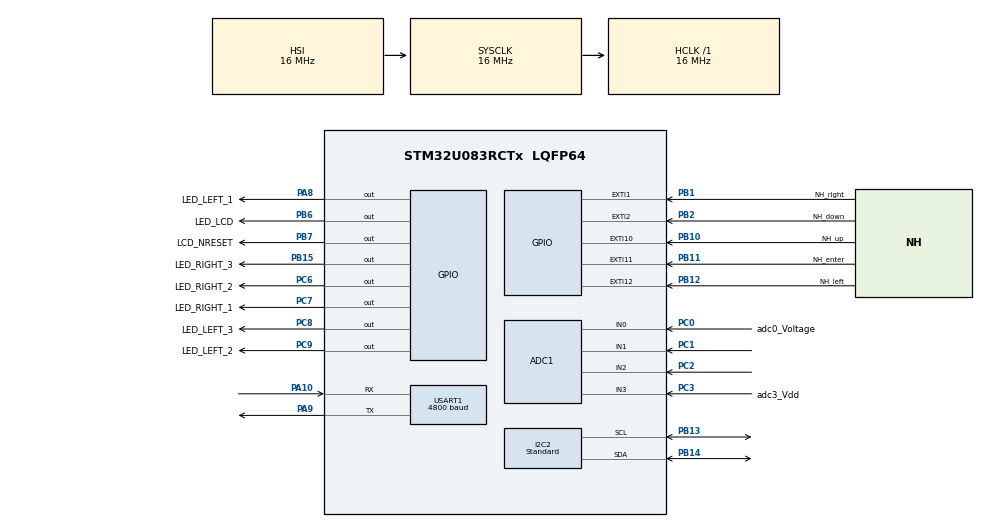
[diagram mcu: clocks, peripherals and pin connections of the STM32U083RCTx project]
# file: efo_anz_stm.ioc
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ADC1.Channel-0\#ChannelRegularConversion=ADC_CHANNEL_0
ADC1.Channel-1\#ChannelRegularConversion=ADC_CHANNEL_1
ADC1.Channel-2\#ChannelRegularConversion=ADC_CHANNEL_2
ADC1.Channel-3\#ChannelRegularConversion=ADC_CHANNEL_3
ADC1.Channel-4\#ChannelRegularConversion=ADC_CHANNEL_TEMPSENSOR
ADC1.Channel-5\#ChannelRegularConversion=ADC_CHANNEL_VREFINT
ADC1.ClockPrescaler=ADC_CLOCK_SYNC_PCLK_DIV1
ADC1.ContinuousConvMode=DISABLE
ADC1.DMAContinuousRequests=ENABLE
ADC1.EOCSelection=ADC_EOC_SEQ_CONV
ADC1.ExternalTrigConv=ADC_EXTERNALTRIG_T6_TRGO
ADC1.ExternalTrigConvEdge=ADC_EXTERNALTRIGCONVEDGE_RISING
ADC1.NbrOfConversion=6
ADC1.NbrOfConversionFlag=1
ADC1.OversamplingMode=ENABLE
ADC1.Rank-0\#ChannelRegularConversion=1
ADC1.Rank-1\#ChannelRegularConversion=2
ADC1.Rank-2\#ChannelRegularConversion=3
ADC1.Rank-3\#ChannelRegularConversion=4
ADC1.Rank-4\#ChannelRegularConversion=5
ADC1.Rank-5\#ChannelRegularConversion=6
ADC1.RankArg-0\#ChannelRegularConversion=ADC_REGULAR_RANK_1
ADC1.RankArg-1\#ChannelRegularConversion=ADC_REGULAR_RANK_2
ADC1.RankArg-2\#ChannelRegularConversion=ADC_REGULAR_RANK_3
ADC1.RankArg-3\#ChannelRegularConversion=ADC_REGULAR_RANK_4
ADC1.RankArg-4\#ChannelRegularConversion=ADC_REGULAR_RANK_5
ADC1.RankArg-5\#ChannelRegularConversion=ADC_REGULAR_RANK_6
ADC1.Ratio=ADC_OVERSAMPLING_RATIO_256
ADC1.RightBitShift=ADC_RIGHTBITSHIFT_8
ADC1.SamplingTime-0\#ChannelRegularConversion=ADC_SAMPLINGTIME_COMMON_1
ADC1.SamplingTime-1\#ChannelRegularConversion=ADC_SAMPLINGTIME_COMMON_1
ADC1.SamplingTime-2\#ChannelRegularConversion=ADC_SAMPLINGTIME_COMMON_1
ADC1.SamplingTime-3\#ChannelRegularConversion=ADC_SAMPLINGTIME_COMMON_1
ADC1.SamplingTime-4\#ChannelRegularConversion=ADC_SAMPLINGTIME_COMMON_1
ADC1.SamplingTime-5\#ChannelRegularConversion=ADC_SAMPLINGTIME_COMMON_1
ADC1.SamplingTimeCommon1=ADC_SAMPLETIME_160CYCLES_5
ADC1.SamplingTimeCommon2=ADC_SAMPLETIME_160CYCLES_5
ADC1.SelectedChannel=ADC_CHANNEL_0|ADC_CHANNEL_1|ADC_CHANNEL_2|ADC_CHANNEL_3|ADC_CHANNEL_TEMPSENSOR|ADC_CHANNEL_VREFINT
ADC1.master=1
Dma.ADC1.0.Direction=DMA_PERIPH_TO_MEMORY
Dma.ADC1.0.EventEnable=DISABLE
Dma.ADC1.0.Instance=DMA1_Channel1
Dma.ADC1.0.MemDataAlignment=DMA_MDATAALIGN_HALFWORD
Dma.ADC1.0.MemInc=DMA_MINC_ENABLE
Dma.ADC1.0.Mode=DMA_CIRCULAR
Dma.ADC1.0.PeriphDataAlignment=DMA_PDATAALIGN_HALFWORD
Dma.ADC1.0.PeriphInc=DMA_PINC_DISABLE
Dma.ADC1.0.Polarity=HAL_DMAMUX_REQ_GEN_RISING
Dma.ADC1.0.Priority=DMA_PRIORITY_LOW
Dma.ADC1.0.RequestNumber=1
Dma.ADC1.0.SignalID=NONE
Dma.ADC1.0.SyncEnable=DISABLE
Dma.ADC1.0.SyncPolarity=HAL_DMAMUX_SYNC_NO_EVENT
Dma.ADC1.0.SyncRequestNumber=1
Dma.ADC1.0.SyncSignalID=NONE
Dma.Request0=ADC1
I2C2.I2C_Speed_Mode=I2C_Standard
I2C2.Timing=0x00303D5B
Mcu.Family=STM32U0
Mcu.Name=STM32U083RCTx
Mcu.Package=LQFP64
NVIC.DMA1_Channel1_IRQn=true\:0\:0\:false\:false\:true\:false\:true\:true
NVIC.EXTI0_1_IRQn=true\:0\:0\:false\:false\:true\:true\:true\:true
NVIC.EXTI2_3_IRQn=true\:0\:0\:false\:false\:true\:true\:true\:true
NVIC.EXTI4_15_IRQn=true\:0\:0\:false\:false\:true\:true\:true\:true
NVIC.PriorityGroup=NVIC_PRIORITYGROUP_2
NVIC.TIM6_DAC_LPTIM1_IRQn=true\:0\:0\:false\:false\:true\:true\:true\:true
NVIC.TIM7_LPTIM2_IRQn=true\:0\:0\:false\:false\:true\:true\:true\:true
NVIC.USART1_IRQn=true\:0\:0\:false\:false\:true\:true\:true\:true
PA10.Mode=Asynchronous
PA10.Signal=USART1_RX
PA13\ (SWDIO).Mode=Serial_Wire
PA13\ (SWDIO).Signal=DEBUG_JTMS-SWDIO
PA14\ (SWCLK).Mode=Serial_Wire
PA14\ (SWCLK).Signal=DEBUG_JTCK-SWCLK
PA8.GPIO_Label=LED_LEFT_1
PA8.Signal=GPIO_Output
PA9.Mode=Asynchronous
PA9.Signal=USART1_TX
PB1.GPIO_Label=NH_right
PB1.Signal=GPXTI1
PB10.GPIO_Label=NH_up
PB10.Signal=GPXTI10
PB11.GPIO_Label=NH_enter
PB11.Signal=GPXTI11
PB12.GPIO_Label=NH_left
PB12.Signal=GPXTI12
PB13.Mode=I2C
PB13.Signal=I2C2_SCL
PB14.Mode=I2C
PB14.Signal=I2C2_SDA
PB15.GPIO_Label=LED_RIGHT_3
PB15.Signal=GPIO_Output
PB2.GPIO_Label=NH_down
PB2.Signal=GPXTI2
PB6.GPIO_Label=LED_LCD
PB6.Signal=GPIO_Output
PB7.GPIO_Label=LCD_NRESET
PB7.Signal=GPIO_Output
PC0.GPIO_Label=adc0_Voltage
PC0.Mode=IN0
PC0.Signal=ADC1_IN0
PC1.Mode=IN1
PC1.Signal=ADC1_IN1
PC2.Mode=IN2
PC2.Signal=ADC1_IN2
PC3.GPIO_Label=adc3_Vdd
PC3.Mode=IN3
PC3.Signal=ADC1_IN3
PC6.GPIO_Label=LED_RIGHT_2
PC6.Signal=GPIO_Output
PC7.GPIO_Label=LED_RIGHT_1
PC7.Signal=GPIO_Output
PC8.GPIO_Label=LED_LEFT_3
PC8.Signal=GPIO_Output
PC9.GPIO_Label=LED_LEFT_2
PC9.Signal=GPIO_Output
ProjectManager.HeapSize=0x200
ProjectManager.StackSize=0x400
ProjectManager.TargetToolchain=STM32CubeIDE
RCC.AHBFreq_Value=16000000
RCC.CortexFreq_Value=16000000
RCC.HCLKFreq_Value=16000000
RCC.HSE_VALUE=4000000
RCC.HSI48_VALUE=48000000
RCC.HSI_VALUE=16000000
RCC.LSE_VALUE=32768
RCC.MSI_VALUE=4000000
RCC.SYSCLKFreq_VALUE=16000000
RCC.VCOOutputFreq_Value=64000000
TIM6.AutoReloadPreload=TIM_AUTORELOAD_PRELOAD_ENABLE
TIM6.Period=62499
TIM6.Prescaler=495
TIM6.TIM_MasterOutputTrigger=TIM_TRGO_UPDATE
TIM7.AutoReloadPreload=TIM_AUTORELOAD_PRELOAD_ENABLE
TIM7.Period=64515
TIM7.Prescaler=495
TIM7.TIM_MasterOutputTrigger=TIM_TRGO_RESET
USART1.BaudRate=4800
USART1.VirtualMode-Asynchronous=VM_ASYNC
VP_ADC1_TempSens_Input.Mode=IN-TempSens
VP_ADC1_Vref_Input.Mode=IN-Vrefint
VP_PWR_VS_SECSignals.Mode=Security/Privilege
VP_TIM6_VS_ClockSourceINT.Mode=Enable_Timer
VP_TIM7_VS_ClockSourceINT.Mode=Enable_Timer
board=custom

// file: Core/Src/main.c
/* USER CODE BEGIN Header */
/**
 ******************************************************************************
 * @file           : main.c
 * @brief          : Main program body
 ******************************************************************************
 * @attention
 *
 * Copyright (c) 2025 STMicroelectronics.
 * All rights reserved.
 *
 * This software is licensed under terms that can be found in the LICENSE file
 * in the root directory of this software component.
 * If no LICENSE file comes with this software, it is provided AS-IS.
 *
 ******************************************************************************
 */
/* USER CODE END Header */
#include "main.h"
#include "adc.h"
#include "dma.h"
#include "i2c.h"
#include "tim.h"
#include "usart.h"
#include "gpio.h"

/* USER CODE BEGIN Includes */
#include <stdbool.h>
#include <stdio.h>
#include "tiny-json.h"
#include <string.h>

/* USER CODE END Includes */

/* USER CODE BEGIN PV */

// 0 = volt
// 1 = current
// 2 = 1V5
// 3 = 3V3
// 4 = int temp
// 5 = int vref
uint16_t adcval[6];

/* USER CODE END PV */

void SystemClock_Config(void);

/* USER CODE BEGIN 0 */

#define LED_DEBUG								0

#define MODE_COMMAND                              0x00
#define MODE_DATA                                 0x40

#define COMMAND_CLEAR_DISPLAY                     0x01
#define COMMAND_RETURN_HOME                       0x02
#define COMMAND_ENTRY_MODE_SET                    0x04
#define ENTRY_MODE_LEFT_TO_RIGHT                  0x02
#define ENTRY_MODE_SHIFT_INCREMENT                0x01
#define COMMAND_SHIFT                             0x10
#define COMMAND_DISPLAY_SHIFT_LEFT                0x08
#define COMMAND_DISPLAY_SHIFT_RIGHT               0x0C
#define COMMAND_CURSOR_SHIFT_LEFT                 0x00
#define COMMAND_CURSOR_SHIFT_RIGHT                0x04

#define ADDRESS_CGRAM                             0x40
#define ADDRESS_DDRAM                             0x80
#define ADDRESS_DDRAM_DOGS164_TOP_OFFSET          0x04
#define ADDRESS_DDRAM_DOGS104_TOP_OFFSET          0x0A

#define COMMAND_8BIT_4LINES_RE1_IS0               0x3A
#define COMMAND_8BIT_4LINES_RE0_IS0_DH1           0x3C
#define COMMAND_8BIT_4LINES_RE0_IS1               0x39
#define COMMAND_8BIT_4LINES_RE0_IS1_DH1           0x3D
#define COMMAND_8BIT_4LINES_RE0_IS0               0x38

// Command from extended set (RE = 1, IS = 0)
#define COMMAND_BS1_1                             0x1E
#define COMMAND_POWER_DOWN_DISABLE                0x02
#define COMMAND_TOP_VIEW                          0x05
#define COMMAND_BOTTOM_VIEW                       0x06
#define COMMAND_4LINES                            0x09
#define COMMAND_3LINES_TOP                        0x1F
#define COMMAND_3LINES_MIDDLE                     0x17
#define COMMAND_3LINES_BOTTOM                     0x13
#define COMMAND_2LINES                            0x1B

// Command from extended set (RE = 0, IS = 1)
#define COMMAND_DISPLAY                           0x08
#define COMMAND_DISPLAY_ON                        0x04
#define COMMAND_DISPLAY_OFF                       0x00
#define COMMAND_CURSOR_ON                         0x02
#define COMMAND_CURSOR_OFF                        0x00
#define COMMAND_BLINK_ON                          0x01
#define COMMAND_BLINK_OFF                         0x00

// Command from extended set (RE = 1, IS = 1)
#define COMMAND_SHIFT_SCROLL_ENABLE               0x10
#define COMMAND_SHIFT_SCROLL_ALL_LINES            0x0F
#define COMMAND_SHIFT_SCROLL_LINE_1               0x01
#define COMMAND_SHIFT_SCROLL_LINE_2               0x02
#define COMMAND_SHIFT_SCROLL_LINE_3               0x04
#define COMMAND_SHIFT_SCROLL_LINE_4               0x08

#define COMMAND_BS0_1                             0x1B
#define COMMAND_INTERNAL_DIVIDER                  0x13
#define COMMAND_CONTRAST_DEFAULT_DOGM204          0x72
#define COMMAND_CONTRAST_DEFAULT_DOGS164          0x6B
#define COMMAND_CONTRAST_DEFAULT_DOGS104          0x7A
#define COMMAND_POWER_CONTROL_DOGM204             0x57
#define COMMAND_POWER_CONTROL_DOGS164             0x56
#define COMMAND_POWER_CONTROL_DOGS104             0x56
#define COMMAND_POWER_ICON_CONTRAST               0x5C
#define COMMAND_FOLLOWER_CONTROL_DOGM204          0x6E
#define COMMAND_FOLLOWER_CONTROL_DOGS164          0x6C
#define COMMAND_FOLLOWER_CONTROL_DOGS104          0x6E
#define COMMAND_ROM_SELECT                        0x72
#define COMMAND_ROM_A                             0x00
#define COMMAND_ROM_B                             0x04
#define COMMAND_ROM_C                             0x08

#define LCD_I2C_ADDR 0x78 // 0x3C ///< The peripheral address as defined with SA0 pulled low.
#define LCD_I2C_RATE_HZ 400000UL
#define LCD_REFRESH_HZ 10U
#define LCD_ORIENT_TOP 0x05
#define LCD_ORIENT_BTM 0x06
#define LCD_ORIENT LCD_ORIENT_BTM
#define LCD_CONTRAST_MAX 0x3F
#define LCD_CONTRAST 0x0F
#define LCD_CURSOR 1
#define LCD_BLINK 1
#define LCD_N_ROW 4U  ///< Number of available rows on LCD
#define LCD_N_COL 16U ///< Number of available columns on LCD

void myhal_led_left1(GPIO_PinState ps){
	HAL_GPIO_WritePin(LED_LEFT_1_GPIO_Port, LED_LEFT_1_Pin, ps);
}
void myhal_led_left2(GPIO_PinState ps){
	HAL_GPIO_WritePin(LED_LEFT_2_GPIO_Port, LED_LEFT_2_Pin, ps);
}
void myhal_led_left3(GPIO_PinState ps){
	HAL_GPIO_WritePin(LED_LEFT_3_GPIO_Port, LED_LEFT_3_Pin, ps);
}

void myhal_led_right1(GPIO_PinState ps){
	HAL_GPIO_WritePin(LED_RIGHT_1_GPIO_Port, LED_RIGHT_1_Pin,ps);
}
void myhal_led_right2(GPIO_PinState ps){
	HAL_GPIO_WritePin(LED_RIGHT_2_GPIO_Port, LED_RIGHT_2_Pin, ps);
}
void myhal_led_right3(GPIO_PinState ps){
	HAL_GPIO_WritePin(LED_RIGHT_3_GPIO_Port, LED_RIGHT_3_Pin, ps);
}

void lcd_init() {
	HAL_GPIO_WritePin(LCD_NRESET_GPIO_Port, LCD_NRESET_Pin, GPIO_PIN_SET);
	HAL_Delay(50);
	HAL_GPIO_WritePin(LCD_NRESET_GPIO_Port, LCD_NRESET_Pin, GPIO_PIN_RESET);
	HAL_Delay(4);
	HAL_GPIO_WritePin(LCD_NRESET_GPIO_Port, LCD_NRESET_Pin, GPIO_PIN_SET);
	HAL_Delay(100);

}

inline static void i2c_write_cmd(uint8_t cmd) {
	uint8_t const buffer[] = { 0x00, cmd };
	//i2c_write_blocking(LCD_I2C_BUS, LCD_I2C_ADDR, (uint8_t const *)&buffer, sizeof(buffer), pdFALSE);
	HAL_I2C_Master_Transmit(&hi2c2, LCD_I2C_ADDR, (uint8_t*) &buffer,
			sizeof(buffer), 1000); //Sending in Blocking mode
}

inline static void i2c_write_line(uint8_t row, char const line[LCD_N_COL]) {
	uint8_t c = 0, line_buffer_index = 0U;
	uint8_t line_buffer[LCD_N_COL + sizeof(uint8_t)];
	line_buffer[line_buffer_index++] = 0x40;
	while ((line[c] != '\0') && (c < LCD_N_COL)) {
		line_buffer[line_buffer_index++] = line[c];
		c++;
	}
	while (c < LCD_N_COL) {
		line_buffer[line_buffer_index++] = ' ';
		c++;
	}
	uint8_t cmd = 0x80 + (0x20 * row);
#if LCD_ORIENT == LCD_ORIENT_TOP
    cmd += 0x04;
#endif
	i2c_write_cmd(cmd); ///> Set DDRAM address to the start of this row
	//i2c_write_blocking(LCD_I2C_BUS, LCD_I2C_ADDR, (uint8_t const *)line_buffer, line_buffer_index, pdFALSE);
	HAL_I2C_Master_Transmit(&hi2c2, LCD_I2C_ADDR, (uint8_t*) &line_buffer,
			line_buffer_index, 1000); //Sending in Blocking mode
}

void lcd_display_screen(bool enable) {
	uint8_t cmd = 0x08;
	cmd |= (enable << 2);
	cmd |= (LCD_CURSOR << 1);
	cmd |= (LCD_BLINK << 1);
	i2c_write_cmd(cmd); ///> Display on, cursor on, blink on}
}

void lcd_display_write_line(uint8_t row, char const ptext[LCD_N_COL]) {
	if (row < LCD_N_ROW) {
		i2c_write_line(row, ptext);
	}
}

void blink_and_text() {
	HAL_GPIO_WritePin(LED_RIGHT_3_GPIO_Port, LED_RIGHT_3_Pin, GPIO_PIN_RESET);
	HAL_GPIO_WritePin(LED_LEFT_1_GPIO_Port, LED_LEFT_1_Pin, GPIO_PIN_SET);
	HAL_Delay(200);
	lcd_display_write_line(0, "   ISAE EFO Anz   ");
	lcd_display_write_line(1, "                  ");
	lcd_display_write_line(2, "                  ");
	lcd_display_write_line(3, "                  ");
	HAL_GPIO_WritePin(LED_LEFT_1_GPIO_Port, LED_LEFT_1_Pin, GPIO_PIN_RESET);
	HAL_GPIO_WritePin(LED_LEFT_2_GPIO_Port, LED_LEFT_2_Pin, GPIO_PIN_SET);
	HAL_Delay(400);
	lcd_display_write_line(0, "                  ");
	lcd_display_write_line(1, "   ISAE EFO Anz   ");
	lcd_display_write_line(2, "                  ");
	lcd_display_write_line(3, "                  ");
	HAL_GPIO_WritePin(LED_LEFT_2_GPIO_Port, LED_LEFT_2_Pin, GPIO_PIN_RESET);
	HAL_GPIO_WritePin(LED_LEFT_3_GPIO_Port, LED_LEFT_3_Pin, GPIO_PIN_SET);
	HAL_Delay(400);
	lcd_display_write_line(0, "                  ");
	lcd_display_write_line(1, "                  ");
	lcd_display_write_line(2, "   ISAE EFO Anz   ");
	lcd_display_write_line(3, "                  ");
	HAL_GPIO_WritePin(LED_LEFT_3_GPIO_Port, LED_LEFT_3_Pin, GPIO_PIN_RESET);
	HAL_GPIO_WritePin(LED_RIGHT_1_GPIO_Port, LED_RIGHT_1_Pin, GPIO_PIN_SET);
	HAL_Delay(400);
	lcd_display_write_line(0, "                  ");
	lcd_display_write_line(1, "                  ");
	lcd_display_write_line(2, "                  ");
	lcd_display_write_line(3, "   ISAE EFO Anz   ");
	HAL_GPIO_WritePin(LED_RIGHT_1_GPIO_Port, LED_RIGHT_1_Pin, GPIO_PIN_RESET);
	HAL_GPIO_WritePin(LED_RIGHT_2_GPIO_Port, LED_RIGHT_2_Pin, GPIO_PIN_SET);
	HAL_Delay(400);
	HAL_GPIO_WritePin(LED_RIGHT_2_GPIO_Port, LED_RIGHT_2_Pin, GPIO_PIN_RESET);
	HAL_GPIO_WritePin(LED_RIGHT_3_GPIO_Port, LED_RIGHT_3_Pin, GPIO_PIN_SET);
	HAL_Delay(400);
}

void lcd_display_configure(void) {
	/* The contrast is spread over two seperate commands and so split here */
	uint8_t contrast_msb = ((LCD_CONTRAST & 0x30U) >> 4U);
	uint8_t contrast_lsb = ((LCD_CONTRAST & 0x0FU) >> 0U);
	i2c_write_cmd(0x3A); ///> Function Set, 8 bit data length extension Bit RE=1; REV=0
	i2c_write_cmd(0x09);              ///> Extended function set, 4 line display
	i2c_write_cmd(LCD_ORIENT); ///> Entry mode set, Top view, note 6 for botton view.
	i2c_write_cmd(0x1E);                ///> Bias setting, BS1=1
	i2c_write_cmd(0x39); ///> Function Set, 8 bit data length extension Bit RE=0; IS=1
	i2c_write_cmd(0x1B);                ///> Internal OSC, BS0=1 -> Bias=1/6
	i2c_write_cmd(0x6C);         ///> Follower control, Divider on and set value
	i2c_write_cmd(0x54 | contrast_msb); ///> Power control, Booster on and set contrast (DB1=C5, DB0=C4)
	i2c_write_cmd(0x70 | contrast_lsb); ///> Set contrast (DB3-DB0=C3-C0)
	i2c_write_cmd(0x38);         ///> 8 bit data length extension Bit RE=0; IS=0
	lcd_display_screen(true); ///> Display on, cursor & blink as per definitions.
	i2c_write_cmd(0x01);                ///> Clear Screen
}

void lcd_display_init_task() {
	/* Create task to keep the LCD updated when new data arrives */
	lcd_init();     ///> Toggle reset line to reset LCD controller.
	lcd_display_configure(); ///> Configure LCD commands.
	/* Add version string to the open display screen
	char linebuffer[LCD_N_COL];
	lcd_display_write_line(0, "   ISAE EFO Anz   ");
	lcd_display_write_line(1, "                  ");
	lcd_display_write_line(3, "                  ");
	*/
}

void sendCommand(uint8_t cmd) {
	uint8_t const buffer[] = { MODE_COMMAND, cmd };
	HAL_I2C_Master_Transmit(&hi2c2, LCD_I2C_ADDR,
			(uint8_t*) &buffer, sizeof(buffer), 1000); //Sending in Blocking mode

	HAL_Delay(1);
}

void loop_print_screen() {
	while (1) {
#ifdef LED_DEBUG
		HAL_GPIO_WritePin(LED_LCD_GPIO_Port, LED_LCD_Pin, GPIO_PIN_SET);
#endif
		char rx_buff_byte[10] = { 0 };
		HAL_StatusTypeDef ret = HAL_UART_Receive(&huart1, rx_buff_byte, 10,
				1000);
		if (HAL_OK == ret) {
			char buf[10+8];
			sprintf(buf, "wrote: %s", rx_buff_byte);
			lcd_display_write_line(2, buf);
		}

		//HAL_UART_Receive(&huart1, NULL, 100, 100);
	}
}

uint8_t UART1_rxBuffer = { 0 };

/* USER CODE END 0 */

int main(void)
{

  /* MCU Configuration--------------------------------------------------------*/

  /* Reset of all peripherals, Initializes the Flash interface and the Systick. */
  HAL_Init();

  /* Configure the system clock */
  SystemClock_Config();

  /* Initialize all configured peripherals */
  MX_GPIO_Init();
  MX_DMA_Init();
  MX_I2C2_Init();
  MX_USART1_UART_Init();
  MX_ADC1_Init();
  MX_TIM7_Init();
  MX_TIM6_Init();
  /* USER CODE BEGIN 2 */

	lcd_display_init_task();

	HAL_TIM_Base_Start_IT(&htim7); // 2s heartbeat
	HAL_UART_Receive_IT(&huart1, &UART1_rxBuffer, 1);

	HAL_ADCEx_Calibration_Start(&hadc1); // MAGIE?

	//HAL_ADC_Start_IT(&hadc1);
	HAL_TIM_Base_Start_IT(&htim6);
	HAL_ADC_Start_DMA(&hadc1, (uint32_t *)adcval, sizeof(adcval) / sizeof(adcval[0]) );

  /* USER CODE END 2 */

  /* Infinite loop */
  /* USER CODE BEGIN WHILE */
	while (1) {
// #ifdef LED_DEBUG
		HAL_GPIO_WritePin(LED_LCD_GPIO_Port, LED_LCD_Pin, GPIO_PIN_SET);
// #endif
		while (1) {
			// DO NOTHING!
		}

		while (1) {
			if (HAL_GPIO_ReadPin(NH_enter_GPIO_Port, NH_enter_Pin)) {
#ifdef LED_DEBUG
				HAL_GPIO_WritePin(LED_RIGHT_1_GPIO_Port, LED_RIGHT_1_Pin,
						GPIO_PIN_SET);
#endif
			} else {
#ifdef LED_DEBUG
				HAL_GPIO_WritePin(LED_RIGHT_1_GPIO_Port, LED_RIGHT_1_Pin,
						GPIO_PIN_RESET);
#endif
			}
		}
		//loop_print_screen();

		//HAL_Delay(6000);
#ifdef LED_DEBUG
		HAL_GPIO_WritePin(LED_LCD_GPIO_Port, LED_LCD_Pin, GPIO_PIN_SET);
#endif
		while (1) {
			HAL_Delay(2000);
			HAL_ADC_Start(&hadc1);
			HAL_ADC_PollForConversion(&hadc1, 100);
			/*uint16_t adc_val =*/ HAL_ADC_GetValue(&hadc1);
			HAL_ADC_Stop(&hadc1);
#ifdef LED_DEBUG
			HAL_GPIO_WritePin(LED_LCD_GPIO_Port, LED_LCD_Pin, GPIO_PIN_RESET);
#endif
			uint8_t tx_buff[] = "hallo";
			HAL_UART_Transmit(&huart1, tx_buff, sizeof(tx_buff), 1000);
#ifdef LED_DEBUG
			HAL_GPIO_WritePin(LED_LCD_GPIO_Port, LED_LCD_Pin, GPIO_PIN_SET);
#endif
		}
#ifdef LED_DEBUG
		HAL_GPIO_WritePin(LED_LCD_GPIO_Port, LED_LCD_Pin, GPIO_PIN_RESET);
#endif
		blink_and_text();
		HAL_Delay(2000);
#ifdef LED_DEBUG
		HAL_GPIO_WritePin(LED_LCD_GPIO_Port, LED_LCD_Pin, GPIO_PIN_SET);
#endif
		blink_and_text();
		HAL_Delay(2000);

    /* USER CODE END WHILE */

	}
}

void SystemClock_Config(void)
{
  RCC_OscInitTypeDef RCC_OscInitStruct = {0};
  RCC_ClkInitTypeDef RCC_ClkInitStruct = {0};

  /** Configure the main internal regulator output voltage
  */
  HAL_PWREx_ControlVoltageScaling(PWR_REGULATOR_VOLTAGE_SCALE2);

  /** Initializes the RCC Oscillators according to the specified parameters
  * in the RCC_OscInitTypeDef structure.
  */
  RCC_OscInitStruct.OscillatorType = RCC_OSCILLATORTYPE_HSI;
  RCC_OscInitStruct.HSIState = RCC_HSI_ON;
  RCC_OscInitStruct.HSICalibrationValue = RCC_HSICALIBRATION_DEFAULT;
  RCC_OscInitStruct.PLL.PLLState = RCC_PLL_NONE;
  if (HAL_RCC_OscConfig(&RCC_OscInitStruct) != HAL_OK)
  {
    Error_Handler();
  }

  /** Initializes the CPU, AHB and APB buses clocks
  */
  RCC_ClkInitStruct.ClockType = RCC_CLOCKTYPE_HCLK|RCC_CLOCKTYPE_SYSCLK
                              |RCC_CLOCKTYPE_PCLK1;
  RCC_ClkInitStruct.SYSCLKSource = RCC_SYSCLKSOURCE_HSI;
  RCC_ClkInitStruct.AHBCLKDivider = RCC_SYSCLK_DIV1;
  RCC_ClkInitStruct.APB1CLKDivider = RCC_HCLK_DIV1;

  if (HAL_RCC_ClockConfig(&RCC_ClkInitStruct, FLASH_LATENCY_1) != HAL_OK)
  {
    Error_Handler();
  }
}

/* USER CODE BEGIN 4 */

static uint8_t c_up = 0;
static uint8_t c_down = 0;
static uint8_t c_left = 0;
static uint8_t c_right = 0;
static uint8_t c_enter = 0;
static uint32_t exti_tick = 0;
#define EXTI_DISP_LINE 0

void send_uart(const char * json){
	char line[250];
	size_t len = sprintf(line, "%s\n", json);
	if(HAL_UART_Transmit(&huart1, (uint8_t *)line, len, 1000) == HAL_OK)
	{
		__NOP();
	}
}

void HAL_GPIO_EXTI_Rising_Callback(uint16_t GPIO_Pin) {
	char buf[16];

	/* cheap DEBOUNCE 100ms */
	uint32_t ticks_now = HAL_GetTick();
	uint32_t ticks_elapsed = ticks_now - exti_tick;	// in ms
	if (ticks_elapsed < 100) {
		//sprintf(buf, "ret just: %lu ticks", ticks_elapsed);
		//lcd_display_write_line(1, buf);
		return;
	}
	exti_tick = ticks_now;
#ifdef LED_DEBUG
	HAL_GPIO_WritePin(LED_LEFT_1_GPIO_Port, LED_LEFT_1_Pin, GPIO_PIN_SET);
#endif

	/*
	 * TODO: dont send in interrupt!!!!
	 */
	switch (GPIO_Pin) {
	case NH_right_Pin:
		send_uart("{\"keypress\":\"right\"}");
		//sprintf(buf, "right: %03d", ++c_right);
		//lcd_display_write_line(EXTI_DISP_LINE, buf);
		break;
	case NH_left_Pin:
		send_uart("{\"keypress\":\"left\"}");
		//sprintf(buf, "left: %03d", ++c_left);
		//lcd_display_write_line(EXTI_DISP_LINE, buf);
		break;
	case NH_up_Pin:
		send_uart("{\"keypress\":\"up\"}");
		//sprintf(buf, "up: %03d", ++c_up);
		//lcd_display_write_line(EXTI_DISP_LINE, buf);
		break;
	case NH_down_Pin:
		send_uart("{\"keypress\":\"down\"}");
		//sprintf(buf, "down: %03d", ++c_down);
		lcd_display_write_line(EXTI_DISP_LINE, buf);
		break;
	case NH_enter_Pin:
		send_uart("{\"keypress\":\"enter\"}");
		//sprintf(buf, "enter: %03d", ++c_enter);
		//lcd_display_write_line(EXTI_DISP_LINE, buf);
		break;
	default:
		__NOP();
	}
#ifdef LED_DEBUG
	HAL_GPIO_WritePin(LED_LEFT_1_GPIO_Port, LED_LEFT_1_Pin, GPIO_PIN_RESET);
#endif

	// DEBUG
	//sprintf(buf, "t: %lu", ticks_elapsed);
	//lcd_display_write_line(1, buf);
}

/**
 * json without newline!
 * {
 *   "line0": "text line 0",
 *   "line4": "text to line 4"
 *   "led1": True,
 *   "led_lcd": False
 * }
 */
void statham(char *json_bytes) {
	json_t mem[100];
	json_t const *json = json_create(json_bytes, mem, sizeof mem / sizeof *mem);
	if (!json) {
		return;
	}

	for (uint8_t line = 0; line < 4; line++) {
		char line_prop_name[6] = { 0 };
		sprintf(line_prop_name, "line%d", line);

		json_t const *lp = json_getProperty(json, line_prop_name);
		if (0 != lp && JSON_TEXT == json_getType(lp)) {
			char const *lineVal = json_getValue(lp);
				lcd_display_write_line(line, lineVal);
		}
	}

	json_t const *led1 = json_getProperty(json, "led1");
	if (0 != led1 && JSON_BOOLEAN == json_getType(led1)) {
		myhal_led_left1(json_getBoolean(led1));
	}
	json_t const *led2 = json_getProperty(json, "led2");
	if (0 != led2 && JSON_BOOLEAN == json_getType(led2)) {
		myhal_led_left2(json_getBoolean(led2));
	}
	json_t const *led3 = json_getProperty(json, "led3");
	if (0 != led3 && JSON_BOOLEAN == json_getType(led3)) {
		myhal_led_left3(json_getBoolean(led3));
	}
	json_t const *led4 = json_getProperty(json, "led4");
	if (0 != led4 && JSON_BOOLEAN == json_getType(led4)) {
		myhal_led_right1(json_getBoolean(led4));
	}
	json_t const *led5 = json_getProperty(json, "led5");
	if (0 != led5 && JSON_BOOLEAN == json_getType(led5)) {
		myhal_led_right2(json_getBoolean(led5));
	}
	json_t const *led6 = json_getProperty(json, "led6");
	if (0 != led6 && JSON_BOOLEAN == json_getType(led6)) {
		myhal_led_right3(json_getBoolean(led6));
	}
	json_t const *led_lcd = json_getProperty(json, "led_lcd");
	if (0 != led_lcd && JSON_BOOLEAN == json_getType(led_lcd)) {
		HAL_GPIO_WritePin(LED_LCD_GPIO_Port, LED_LCD_Pin,json_getBoolean(led_lcd));
	}

}

#define RXBUFLEN 200
static uint8_t rx_buf[RXBUFLEN] = { 0 };
uint8_t rx_buf_idx = 0;

void HAL_UART_RxCpltCallback(UART_HandleTypeDef *huart) {
#ifdef LED_DEBUG
	HAL_GPIO_WritePin(LED_LEFT_3_GPIO_Port, LED_LEFT_3_Pin, GPIO_PIN_SET);
#endif
	rx_buf[rx_buf_idx++] = UART1_rxBuffer;

	if (rx_buf_idx == RXBUFLEN) {
		char buf[RXBUFLEN+10];
		// overflow!!!
		sprintf(buf, "txt: %s", rx_buf);
		lcd_display_write_line(3, buf);
		memset(rx_buf, 0, sizeof(rx_buf));
		rx_buf_idx = 0;
	}

	if (UART1_rxBuffer == '\n') {				// TODO: cheap-parsing only accept json without newlines
		rx_buf[rx_buf_idx] = '\0';	//TERM
		statham((char*) rx_buf);
		memset(rx_buf, 0, sizeof(rx_buf));
		rx_buf_idx = 0;
	}

	if (rx_buf_idx == 30) {
		__NOP();
	}
#ifdef LED_DEBUG
	HAL_GPIO_WritePin(LED_LEFT_3_GPIO_Port, LED_LEFT_3_Pin, GPIO_PIN_RESET);
#endif
	HAL_UART_Receive_IT(&huart1, &UART1_rxBuffer, 1); // get next
}

void heartbeat(){
	// quick and dirty 256x oversampling by gui
	char jbuf[240]={};
	sprintf(jbuf, "{\"0_ubat\":\"%d\",\"1_ibat\":\"%d\",\"2_1V5\":\"%d\",\"3_3V3\":\"%d\",\"4_inttemp\":\"%d\",\"5_intref\":\"%d\",\"heartbeat\":\"500ms_elapsed\"}",
			adcval[0],adcval[1],adcval[2],adcval[3],adcval[4],adcval[5]);
	send_uart(jbuf);
}

void HAL_TIM_PeriodElapsedCallback(TIM_HandleTypeDef *htim){
	if (htim->Instance == TIM7) {
		//send_uart("{\"heartbeat\":\"2s_elapsed\"}");
		heartbeat();
	}
	if (htim->Instance == TIM6) {
		// 500ms
		//heartbeat();
	}
}

void HAL_ADC_ConvCpltCallback(ADC_HandleTypeDef *hadc){
	// from tim6
	//heartbeat();
}

/* USER CODE END 4 */

void Error_Handler(void)
{
	__disable_irq();
	while (1) {
	}
}
